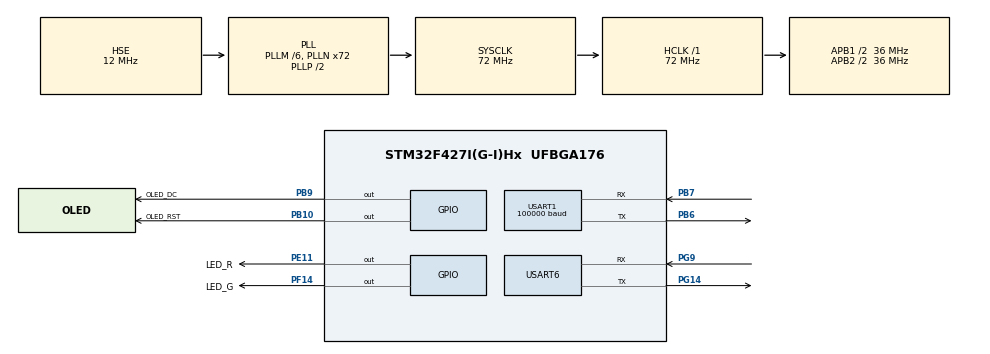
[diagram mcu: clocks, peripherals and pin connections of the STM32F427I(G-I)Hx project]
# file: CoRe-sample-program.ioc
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Dma.Request0=USART1_RX
Dma.USART1_RX.0.Direction=DMA_PERIPH_TO_MEMORY
Dma.USART1_RX.0.FIFOMode=DMA_FIFOMODE_DISABLE
Dma.USART1_RX.0.Instance=DMA2_Stream2
Dma.USART1_RX.0.MemDataAlignment=DMA_MDATAALIGN_BYTE
Dma.USART1_RX.0.MemInc=DMA_MINC_ENABLE
Dma.USART1_RX.0.Mode=DMA_CIRCULAR
Dma.USART1_RX.0.PeriphDataAlignment=DMA_PDATAALIGN_BYTE
Dma.USART1_RX.0.PeriphInc=DMA_PINC_DISABLE
Dma.USART1_RX.0.Priority=DMA_PRIORITY_LOW
Mcu.Family=STM32F4
Mcu.Name=STM32F427I(G-I)Hx
Mcu.Package=UFBGA176
NVIC.DMA2_Stream2_IRQn=true\:0\:0\:false\:false\:true\:false\:true\:true
NVIC.PriorityGroup=NVIC_PRIORITYGROUP_4
PA13.Mode=Serial_Wire
PA13.Signal=SYS_JTMS-SWDIO
PA14.Mode=Serial_Wire
PA14.Signal=SYS_JTCK-SWCLK
PA6.Signal=ADCx_IN6
PA7.Signal=SPI1_MOSI
PB10.GPIO_Label=OLED_RST
PB10.Signal=GPIO_Output
PB3.Signal=SPI1_SCK
PB6.Mode=Asynchronous
PB6.Signal=USART1_TX
PB7.Mode=Asynchronous
PB7.Signal=USART1_RX
PB9.GPIO_Label=OLED_DC
PB9.Signal=GPIO_Output
PE11.GPIO_Label=LED_R
PE11.Signal=GPIO_Output
PF14.GPIO_Label=LED_G
PF14.Signal=GPIO_Output
PG14.Mode=Asynchronous
PG14.Signal=USART6_TX
PG9.Mode=Asynchronous
PG9.Signal=USART6_RX
PH0/OSC_IN.Mode=HSE-External-Oscillator
PH0/OSC_IN.Signal=RCC_OSC_IN
PH1/OSC_OUT.Mode=HSE-External-Oscillator
PH1/OSC_OUT.Signal=RCC_OSC_OUT
ProjectManager.HeapSize=0x200
ProjectManager.StackSize=0x400
ProjectManager.TargetToolchain=STM32CubeIDE
RCC.48MHZClocksFreq_Value=36000000
RCC.AHBFreq_Value=72000000
RCC.APB1CLKDivider=RCC_HCLK_DIV2
RCC.APB1Freq_Value=36000000
RCC.APB1TimFreq_Value=72000000
RCC.APB2CLKDivider=RCC_HCLK_DIV2
RCC.APB2Freq_Value=36000000
RCC.APB2TimFreq_Value=72000000
RCC.CortexFreq_Value=72000000
RCC.HCLKFreq_Value=72000000
RCC.HSE_VALUE=12000000
RCC.HSI_VALUE=16000000
RCC.LSE_VALUE=32768
RCC.PLLM=6
RCC.PLLN=72
RCC.PLLSourceVirtual=RCC_PLLSOURCE_HSE
RCC.SYSCLKFreq_VALUE=72000000
RCC.SYSCLKSource=RCC_SYSCLKSOURCE_PLLCLK
RCC.VCOOutputFreq_Value=144000000
SH.ADCx_IN6.0=ADC1_IN6
USART1.BaudRate=100000
USART1.Parity=PARITY_EVEN
USART1.VirtualMode=VM_ASYNC
USART6.VirtualMode=VM_ASYNC
board=RM_OLED

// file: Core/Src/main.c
/* USER CODE BEGIN Header */
/**
 ******************************************************************************
 * @file           : main.c
 * @brief          : Main program body
 ******************************************************************************
 * @attention
 *
 * <h2><center>&copy; Copyright (c) 2023 STMicroelectronics.
 * All rights reserved.</center></h2>
 *
 * This software component is licensed by ST under BSD 3-Clause license,
 * the "License"; You may not use this file except in compliance with the
 * License. You may obtain a copy of the License at:
 *                        opensource.org/licenses/BSD-3-Clause
 *
 ******************************************************************************
 */
/* USER CODE END Header */
#include "main.h"
#include "dma.h"
#include "usart.h"
#include "gpio.h"

/* USER CODE BEGIN Includes */
#include "bsp_uart.h"
#include <stdbool.h>
/* USER CODE END Includes */

/* USER CODE BEGIN PV */
/* Private variables ---------------------------------------------------------*/
extern rc_info_t rc;
uint8_t buf[200];
uint8_t tmp;

/* USER CODE END PV */

void SystemClock_Config(void);
/* USER CODE BEGIN PFP */
/* Private function prototypes -----------------------------------------------*/
/* USER CODE END PFP */

int main(void)
{

  /* MCU Configuration--------------------------------------------------------*/

  /* Reset of all peripherals, Initializes the Flash interface and the Systick. */
  HAL_Init();

  /* Configure the system clock */
  SystemClock_Config();

  /* Initialize all configured peripherals */
  MX_GPIO_Init();
  MX_DMA_Init();
  MX_USART1_UART_Init();
  MX_USART6_UART_Init();
  /* USER CODE BEGIN 2 */
	/* open dbus uart receive it */
  dbus_uart_init();

	HAL_GPIO_WritePin(LED_G_GPIO_Port, LED_G_Pin,GPIO_PIN_RESET);

	uint8_t loopNum=0;

  /* USER CODE END 2 */

  /* Infinite loop */
	while (1)
	{

    /* USER CODE BEGIN 3 */
		loopNum++;
		uart_receive_handler(&huart1); //コントローラ値 受信
		if(loopNum>1){//送信周期間引き
			sprintf(buf, "%04d%04d%04d%04d%01d%01d\n", rc.ch1, rc.ch2, rc.ch3, rc.ch4,rc.sw1,rc.sw2); //スティック4文字（-660～0660）x4,スイッチ1文字(1,3,2)x2,\n
			HAL_UART_Transmit( &huart6, buf, strlen(buf), 0xFFFF );//Serial 送信
			loopNum=0;//カウンター初期化
		}
		HAL_Delay(1);
	}

  /* USER CODE END 3 */
}

void SystemClock_Config(void)
{
  RCC_OscInitTypeDef RCC_OscInitStruct = {0};
  RCC_ClkInitTypeDef RCC_ClkInitStruct = {0};

  /** Configure the main internal regulator output voltage
  */
  __HAL_RCC_PWR_CLK_ENABLE();
  __HAL_PWR_VOLTAGESCALING_CONFIG(PWR_REGULATOR_VOLTAGE_SCALE3);

  /** Initializes the RCC Oscillators according to the specified parameters
  * in the RCC_OscInitTypeDef structure.
  */
  RCC_OscInitStruct.OscillatorType = RCC_OSCILLATORTYPE_HSE;
  RCC_OscInitStruct.HSEState = RCC_HSE_ON;
  RCC_OscInitStruct.PLL.PLLState = RCC_PLL_ON;
  RCC_OscInitStruct.PLL.PLLSource = RCC_PLLSOURCE_HSE;
  RCC_OscInitStruct.PLL.PLLM = 6;
  RCC_OscInitStruct.PLL.PLLN = 72;
  RCC_OscInitStruct.PLL.PLLP = RCC_PLLP_DIV2;
  RCC_OscInitStruct.PLL.PLLQ = 4;
  if (HAL_RCC_OscConfig(&RCC_OscInitStruct) != HAL_OK)
  {
    Error_Handler();
  }

  /** Initializes the CPU, AHB and APB buses clocks
  */
  RCC_ClkInitStruct.ClockType = RCC_CLOCKTYPE_HCLK|RCC_CLOCKTYPE_SYSCLK
                              |RCC_CLOCKTYPE_PCLK1|RCC_CLOCKTYPE_PCLK2;
  RCC_ClkInitStruct.SYSCLKSource = RCC_SYSCLKSOURCE_PLLCLK;
  RCC_ClkInitStruct.AHBCLKDivider = RCC_SYSCLK_DIV1;
  RCC_ClkInitStruct.APB1CLKDivider = RCC_HCLK_DIV2;
  RCC_ClkInitStruct.APB2CLKDivider = RCC_HCLK_DIV2;

  if (HAL_RCC_ClockConfig(&RCC_ClkInitStruct, FLASH_LATENCY_2) != HAL_OK)
  {
    Error_Handler();
  }
}

void Error_Handler(void)
{
	while(1)
	{
	}
}
